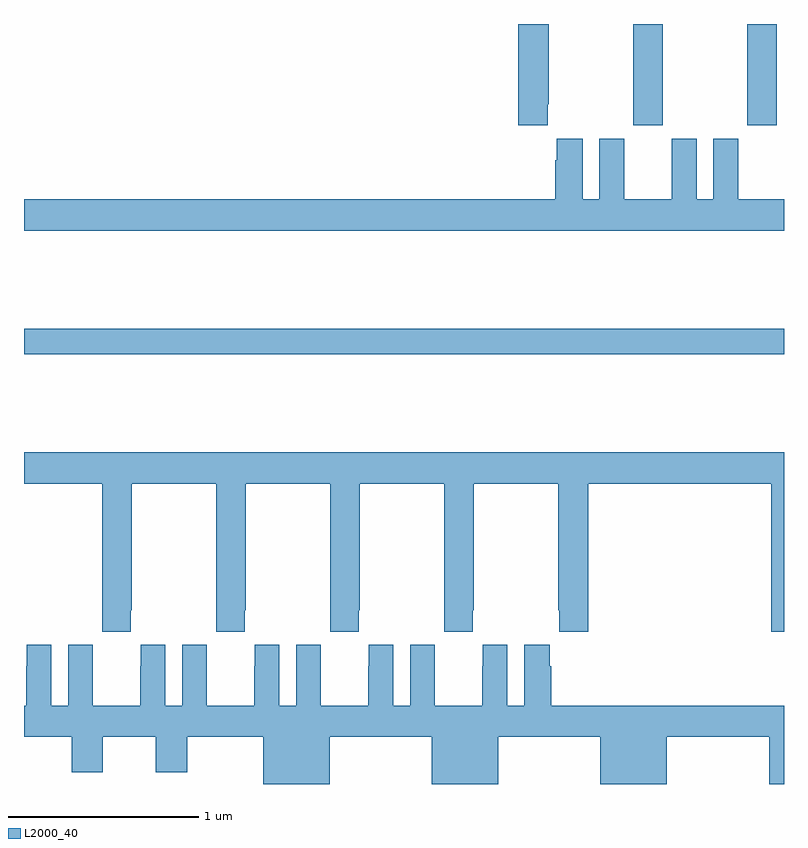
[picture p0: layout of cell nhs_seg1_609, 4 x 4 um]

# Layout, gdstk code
import gdstk
lib = gdstk.Library(unit=1e-6, precision=1e-09)
def R(c, l, rs):  # rectangles x0, y0, x1, y1
    for r in rs: c.add(gdstk.rectangle(r[:2], r[2:], *l))
def P(c, l, *ps):  # polygons
    for p in ps: c.add(gdstk.Polygon(p, *l))
L2000_40 = (2000, 40)

nhs_seg1_609 = lib.new_cell('nhs_seg1_609')
R(nhs_seg1_609, L2000_40, [(145,504.46,149,504.596), (148.207,505.665,148.362,506.199), (148.807,505.665,148.962,506.199)])
P(nhs_seg1_609, L2000_40, [(147.757,505.777),(147.762,505.777),(147.762,506.199),(147.602,506.199),(147.602,505.665),(147.757,505.665)],
  [(149,505.276),(148.759,505.276),(148.759,505.594),(148.628,505.594),(148.628,505.276),(148.54,505.276),(148.54,505.594),(148.409,505.594),(148.409,505.276),(148.159,505.276),(148.159,505.594),(148.028,505.594),(148.028,505.276),(147.94,505.276),(147.94,505.594),(147.803,505.594),(147.803,505.481),(147.797,505.481),(147.797,505.276),(145,505.276),(145,505.112),(149,505.112)],
  [(145.563,503.113),(145.566,503.113),(145.566,503.78),(146.011,503.78),(146.011,503.113),(146.013,503.113),(146.013,503.001),(146.163,503.001),(146.163,503.113),(146.166,503.113),(146.166,503.78),(146.611,503.78),(146.611,503.113),(146.613,503.113),(146.613,503.001),(146.763,503.001),(146.763,503.113),(146.766,503.113),(146.766,503.78),(147.211,503.78),(147.211,503.113),(147.213,503.113),(147.213,503.001),(147.363,503.001),(147.363,503.113),(147.366,503.113),(147.366,503.78),(147.811,503.78),(147.811,503.113),(147.817,503.113),(147.817,503.001),(147.971,503.001),(147.971,503.78),(148.934,503.78),(148.934,503.001),(149,503.001),(149,503.944),(145,503.944),(145,503.78),(145.411,503.78),(145.411,503.113),(145.413,503.113),(145.413,503.001),(145.563,503.001)],
  [(146.608,502.448),(147.146,502.448),(147.146,502.199),(147.496,502.199),(147.496,502.448),(148.034,502.448),(148.034,502.199),(148.384,502.199),(148.384,502.448),(148.922,502.448),(148.922,502.199),(149,502.199),(149,502.612),(147.776,502.612),(147.776,502.82),(147.766,502.82),(147.766,502.933),(147.632,502.933),(147.632,502.612),(147.544,502.612),(147.544,502.933),(147.414,502.933),(147.414,502.82),(147.413,502.82),(147.413,502.612),(147.163,502.612),(147.163,502.82),(147.162,502.82),(147.162,502.933),(147.032,502.933),(147.032,502.612),(146.944,502.612),(146.944,502.933),(146.814,502.933),(146.814,502.82),(146.813,502.82),(146.813,502.612),(146.563,502.612),(146.563,502.82),(146.562,502.82),(146.562,502.933),(146.432,502.933),(146.432,502.612),(146.344,502.612),(146.344,502.933),(146.214,502.933),(146.214,502.82),(146.213,502.82),(146.213,502.612),(145.963,502.612),(145.963,502.82),(145.962,502.82),(145.962,502.933),(145.832,502.933),(145.832,502.612),(145.744,502.612),(145.744,502.933),(145.614,502.933),(145.614,502.82),(145.613,502.82),(145.613,502.612),(145.363,502.612),(145.363,502.82),(145.362,502.82),(145.362,502.933),(145.232,502.933),(145.232,502.612),(145.144,502.612),(145.144,502.933),(145.014,502.933),(145.014,502.82),(145.013,502.82),(145.013,502.612),(145,502.612),(145,502.448),(145.25,502.448),(145.25,502.26),(145.414,502.26),(145.414,502.448),(145.694,502.448),(145.694,502.26),(145.858,502.26),(145.858,502.448),(146.258,502.448),(146.258,502.199),(146.608,502.199)])

lib.write_gds('nhs_seg1_609.gds')
